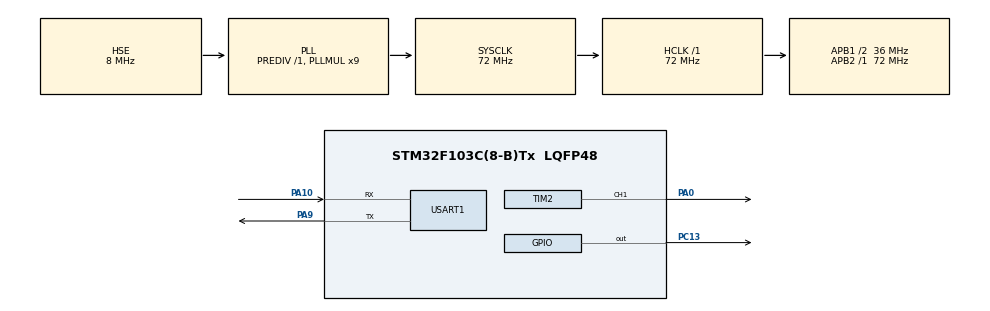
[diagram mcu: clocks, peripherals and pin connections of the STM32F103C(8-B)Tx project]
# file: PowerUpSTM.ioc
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Mcu.Family=STM32F1
Mcu.Name=STM32F103C(8-B)Tx
Mcu.Package=LQFP48
NVIC.PriorityGroup=NVIC_PRIORITYGROUP_4
NVIC.USART1_IRQn=true\:0\:0\:false\:false\:true\:true\:true\:true
PA0-WKUP.Signal=S_TIM2_CH1_ETR
PA10.Mode=Asynchronous
PA10.Signal=USART1_RX
PA13.Mode=Serial_Wire
PA13.Signal=SYS_JTMS-SWDIO
PA14.Mode=Serial_Wire
PA14.Signal=SYS_JTCK-SWCLK
PA9.Mode=Asynchronous
PA9.Signal=USART1_TX
PC13-TAMPER-RTC.Signal=GPIO_Output
PD0-OSC_IN.Mode=HSE-External-Oscillator
PD0-OSC_IN.Signal=RCC_OSC_IN
PD1-OSC_OUT.Mode=HSE-External-Oscillator
PD1-OSC_OUT.Signal=RCC_OSC_OUT
ProjectManager.HeapSize=0x200
ProjectManager.StackSize=0x400
ProjectManager.TargetToolchain=STM32CubeIDE
RCC.AHBFreq_Value=72000000
RCC.APB1CLKDivider=RCC_HCLK_DIV2
RCC.APB1Freq_Value=36000000
RCC.APB1TimFreq_Value=72000000
RCC.APB2Freq_Value=72000000
RCC.APB2TimFreq_Value=72000000
RCC.HCLKFreq_Value=72000000
RCC.PLLMUL=RCC_PLL_MUL9
RCC.PLLSourceVirtual=RCC_PLLSOURCE_HSE
RCC.SYSCLKFreq_VALUE=72000000
RCC.SYSCLKSource=RCC_SYSCLKSOURCE_PLLCLK
RCC.USBFreq_Value=72000000
SH.S_TIM2_CH1_ETR.0=TIM2_CH1,PWM Generation1 CH1
TIM2.Channel-PWM\ Generation1\ CH1=TIM_CHANNEL_1
TIM2.Period=19999
TIM2.Prescaler=71
USART1.VirtualMode=VM_ASYNC
VP_TIM2_VS_ClockSourceINT.Mode=Internal
board=custom

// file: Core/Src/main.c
/* USER CODE BEGIN Header */
/**
  ******************************************************************************
  * @file           : main.c
  * @brief          : Main program body
  ******************************************************************************
  * @attention
  *
  * Copyright (c) 2026 STMicroelectronics.
  * All rights reserved.
  *
  * This software is licensed under terms that can be found in the LICENSE file
  * in the root directory of this software component.
  * If no LICENSE file comes with this software, it is provided AS-IS.
  *
  ******************************************************************************
  */
/* USER CODE END Header */
#include "main.h"

/* USER CODE BEGIN Includes */
#include <string.h>
/* USER CODE END Includes */

TIM_HandleTypeDef htim2;

UART_HandleTypeDef huart1;

/* USER CODE BEGIN PV */
uint8_t rx_byte;
char rx_buffer[20];
uint8_t rx_index = 0;
uint8_t command_ready = 0;
/* USER CODE END PV */

void SystemClock_Config(void);
static void MX_GPIO_Init(void);
static void MX_TIM2_Init(void);
static void MX_USART1_UART_Init(void);

int main(void)
{

  /* MCU Configuration--------------------------------------------------------*/

  /* Reset of all peripherals, Initializes the Flash interface and the Systick. */
  HAL_Init();

  /* Configure the system clock */
  SystemClock_Config();

  /* Initialize all configured peripherals */
  MX_GPIO_Init();
  MX_TIM2_Init();
  MX_USART1_UART_Init();
  /* USER CODE BEGIN 2 */
  HAL_TIM_PWM_Start(&htim2, TIM_CHANNEL_1);

  HAL_UART_Receive_IT(&huart1, &rx_byte, 1);

  /* USER CODE END 2 */

  /* Infinite loop */
  while (1)
    {

      /* USER CODE BEGIN 3 */

	  // Control loop

	  if (command_ready == 1) {
		  if (strcmp(rx_buffer, "ON") == 0) {
			  HAL_GPIO_WritePin(GPIOC, GPIO_PIN_13, GPIO_PIN_RESET);
			  __HAL_TIM_SET_COMPARE(&htim2, TIM_CHANNEL_1, 1500);
			  HAL_Delay(1000);
			  __HAL_TIM_SET_COMPARE(&htim2, TIM_CHANNEL_1, 1000);
		  }
		  if (strcmp(rx_buffer, "OFF") == 0) {
			  HAL_GPIO_WritePin(GPIOC, GPIO_PIN_13, GPIO_PIN_SET);
			  __HAL_TIM_SET_COMPARE(&htim2, TIM_CHANNEL_1, 1500);
			  HAL_Delay(6000);
			  __HAL_TIM_SET_COMPARE(&htim2, TIM_CHANNEL_1, 1000);
		  }

		  command_ready = 0;
	  }
    }
    /* USER CODE END 3 */
}

void SystemClock_Config(void)
{
  RCC_OscInitTypeDef RCC_OscInitStruct = {0};
  RCC_ClkInitTypeDef RCC_ClkInitStruct = {0};

  /** Initializes the RCC Oscillators according to the specified parameters
  * in the RCC_OscInitTypeDef structure.
  */
  RCC_OscInitStruct.OscillatorType = RCC_OSCILLATORTYPE_HSE;
  RCC_OscInitStruct.HSEState = RCC_HSE_ON;
  RCC_OscInitStruct.HSEPredivValue = RCC_HSE_PREDIV_DIV1;
  RCC_OscInitStruct.HSIState = RCC_HSI_ON;
  RCC_OscInitStruct.PLL.PLLState = RCC_PLL_ON;
  RCC_OscInitStruct.PLL.PLLSource = RCC_PLLSOURCE_HSE;
  RCC_OscInitStruct.PLL.PLLMUL = RCC_PLL_MUL9;
  if (HAL_RCC_OscConfig(&RCC_OscInitStruct) != HAL_OK)
  {
    Error_Handler();
  }

  /** Initializes the CPU, AHB and APB buses clocks
  */
  RCC_ClkInitStruct.ClockType = RCC_CLOCKTYPE_HCLK|RCC_CLOCKTYPE_SYSCLK
                              |RCC_CLOCKTYPE_PCLK1|RCC_CLOCKTYPE_PCLK2;
  RCC_ClkInitStruct.SYSCLKSource = RCC_SYSCLKSOURCE_PLLCLK;
  RCC_ClkInitStruct.AHBCLKDivider = RCC_SYSCLK_DIV1;
  RCC_ClkInitStruct.APB1CLKDivider = RCC_HCLK_DIV2;
  RCC_ClkInitStruct.APB2CLKDivider = RCC_HCLK_DIV1;

  if (HAL_RCC_ClockConfig(&RCC_ClkInitStruct, FLASH_LATENCY_2) != HAL_OK)
  {
    Error_Handler();
  }
}

static void MX_TIM2_Init(void)
{

  TIM_ClockConfigTypeDef sClockSourceConfig = {0};
  TIM_MasterConfigTypeDef sMasterConfig = {0};
  TIM_OC_InitTypeDef sConfigOC = {0};

  htim2.Instance = TIM2;
  htim2.Init.Prescaler = 71;
  htim2.Init.CounterMode = TIM_COUNTERMODE_UP;
  htim2.Init.Period = 19999;
  htim2.Init.ClockDivision = TIM_CLOCKDIVISION_DIV1;
  htim2.Init.AutoReloadPreload = TIM_AUTORELOAD_PRELOAD_DISABLE;
  if (HAL_TIM_Base_Init(&htim2) != HAL_OK)
  {
    Error_Handler();
  }
  sClockSourceConfig.ClockSource = TIM_CLOCKSOURCE_INTERNAL;
  if (HAL_TIM_ConfigClockSource(&htim2, &sClockSourceConfig) != HAL_OK)
  {
    Error_Handler();
  }
  if (HAL_TIM_PWM_Init(&htim2) != HAL_OK)
  {
    Error_Handler();
  }
  sMasterConfig.MasterOutputTrigger = TIM_TRGO_RESET;
  sMasterConfig.MasterSlaveMode = TIM_MASTERSLAVEMODE_DISABLE;
  if (HAL_TIMEx_MasterConfigSynchronization(&htim2, &sMasterConfig) != HAL_OK)
  {
    Error_Handler();
  }
  sConfigOC.OCMode = TIM_OCMODE_PWM1;
  sConfigOC.Pulse = 0;
  sConfigOC.OCPolarity = TIM_OCPOLARITY_HIGH;
  sConfigOC.OCFastMode = TIM_OCFAST_DISABLE;
  if (HAL_TIM_PWM_ConfigChannel(&htim2, &sConfigOC, TIM_CHANNEL_1) != HAL_OK)
  {
    Error_Handler();
  }
  HAL_TIM_MspPostInit(&htim2);

}

static void MX_USART1_UART_Init(void)
{

  huart1.Instance = USART1;
  huart1.Init.BaudRate = 115200;
  huart1.Init.WordLength = UART_WORDLENGTH_8B;
  huart1.Init.StopBits = UART_STOPBITS_1;
  huart1.Init.Parity = UART_PARITY_NONE;
  huart1.Init.Mode = UART_MODE_TX_RX;
  huart1.Init.HwFlowCtl = UART_HWCONTROL_NONE;
  huart1.Init.OverSampling = UART_OVERSAMPLING_16;
  if (HAL_UART_Init(&huart1) != HAL_OK)
  {
    Error_Handler();
  }

}

static void MX_GPIO_Init(void)
{
  GPIO_InitTypeDef GPIO_InitStruct = {0};

  /* GPIO Ports Clock Enable */
  __HAL_RCC_GPIOC_CLK_ENABLE();
  __HAL_RCC_GPIOD_CLK_ENABLE();
  __HAL_RCC_GPIOA_CLK_ENABLE();

  /*Configure GPIO pin Output Level */
  HAL_GPIO_WritePin(GPIOC, GPIO_PIN_13, GPIO_PIN_RESET);

  /*Configure GPIO pin : PC13 */
  GPIO_InitStruct.Pin = GPIO_PIN_13;
  GPIO_InitStruct.Mode = GPIO_MODE_OUTPUT_PP;
  GPIO_InitStruct.Pull = GPIO_NOPULL;
  GPIO_InitStruct.Speed = GPIO_SPEED_FREQ_LOW;
  HAL_GPIO_Init(GPIOC, &GPIO_InitStruct);

}

/* USER CODE BEGIN 4 */
void HAL_UART_RxCpltCallback(UART_HandleTypeDef *huart)
{
  if (huart->Instance == USART1)
  {
    if (rx_byte != '\r')
    {
      if (rx_byte == '\n')
      {
        // Message complete
        rx_buffer[rx_index] = '\0';
        command_ready = 1;
        rx_index = 0;
      }
      else
      {
        // If letter - save and move to the next slot
        rx_buffer[rx_index] = rx_byte;
        rx_index++;

        // Avoid overflow
        if (rx_index >= 20) {
          rx_index = 0;
        }
      }
    }

    // 4. Next letter
    HAL_UART_Receive_IT(&huart1, &rx_byte, 1);
  }
}
/* USER CODE END 4 */

void Error_Handler(void)
{
  __disable_irq();
  while (1)
  {
  }
}
